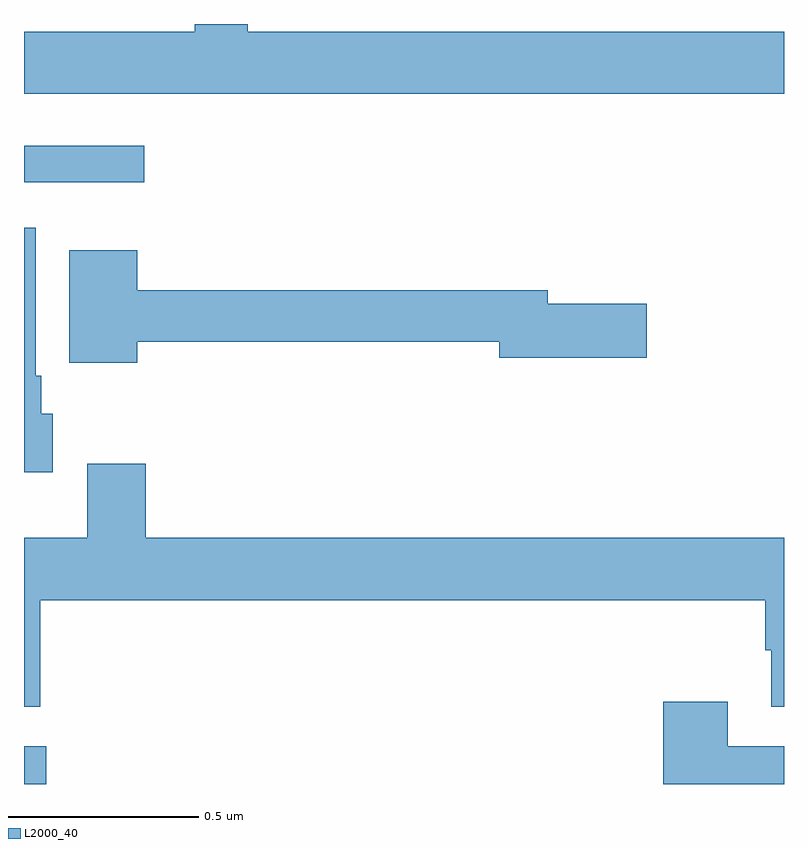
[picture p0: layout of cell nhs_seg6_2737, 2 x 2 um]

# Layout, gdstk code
import gdstk
lib = gdstk.Library(unit=1e-6, precision=1e-09)
def R(c, l, rs):  # rectangles x0, y0, x1, y1
    for r in rs: c.add(gdstk.rectangle(r[:2], r[2:], *l))
def P(c, l, *ps):  # polygons
    for p in ps: c.add(gdstk.Polygon(p, *l))
L2000_40 = (2000, 40)

nhs_seg6_2737 = lib.new_cell('nhs_seg6_2737')
R(nhs_seg6_2737, L2000_40, [(147,965.5,147.058,965.599), (147,967.083,147.316,967.18)])
P(nhs_seg6_2737, L2000_40, [(149,967.48),(147.589,967.48),(147.589,967.5),(147.449,967.5),(147.449,967.48),(147,967.48),(147,967.316),(149,967.316)],
  [(147.076,966.474),(147.046,966.474),(147.046,966.574),(147.031,966.574),(147.031,966.964),(147,966.964),(147,966.32),(147.076,966.32)],
  [(147.298,966.664),(148.25,966.664),(148.25,966.622),(148.639,966.622),(148.639,966.764),(148.378,966.764),(148.378,966.8),(147.298,966.8),(147.298,966.904),(147.119,966.904),(147.119,966.608),(147.298,966.608)],
  [(147.043,965.984),(148.95,965.984),(148.95,965.852),(148.967,965.852),(148.967,965.703),(149,965.703),(149,966.148),(147.32,966.148),(147.32,966.343),(147.167,966.343),(147.167,966.148),(147,966.148),(147,965.703),(147.043,965.703)],
  [(149,965.599),(148.852,965.599),(148.852,965.716),(148.682,965.716),(148.682,965.5),(149,965.5)])

lib.write_gds('nhs_seg6_2737.gds')
